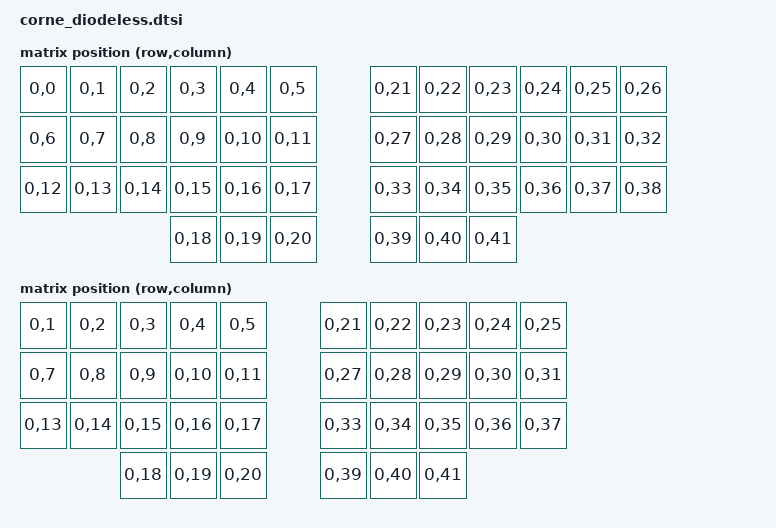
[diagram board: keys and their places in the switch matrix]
/*
 * Copyright (c) 2026 The Diodeless Corne contributors
 *
 * SPDX-License-Identifier: MIT
 */

#include <dt-bindings/zmk/matrix_transform.h>

#include <layouts/foostan/corne/5column.dtsi>
#include <layouts/foostan/corne/6column.dtsi>

&foostan_corne_6col_layout {
    transform = <&default_transform>;
};

&foostan_corne_5col_layout {
    transform = <&five_column_transform>;
};

/ {
    chosen {
        zmk,kscan = &kscan0;
        zmk,physical-layout = &foostan_corne_6col_layout;
    };

    /*
     * Direct wiring has no rows: each half is one row of 21 inputs.
     * The left half is inputs 0-20 and the right half is inputs 21-41.
     * Within a half the inputs run row by row, left to right, then the three thumb keys.
     */
    default_transform: keymap_transform_0 {
        compatible = "zmk,matrix-transform";
        columns = <42>;
        rows = <1>;
        map = <
RC(0,0)  RC(0,1)  RC(0,2)  RC(0,3)  RC(0,4)  RC(0,5)    RC(0,21) RC(0,22) RC(0,23) RC(0,24) RC(0,25) RC(0,26)
RC(0,6)  RC(0,7)  RC(0,8)  RC(0,9)  RC(0,10) RC(0,11)   RC(0,27) RC(0,28) RC(0,29) RC(0,30) RC(0,31) RC(0,32)
RC(0,12) RC(0,13) RC(0,14) RC(0,15) RC(0,16) RC(0,17)   RC(0,33) RC(0,34) RC(0,35) RC(0,36) RC(0,37) RC(0,38)
                           RC(0,18) RC(0,19) RC(0,20)   RC(0,39) RC(0,40) RC(0,41)
        >;
    };

    /* The same board with the two outer columns left empty. */
    five_column_transform: keymap_transform_1 {
        compatible = "zmk,matrix-transform";
        columns = <42>;
        rows = <1>;
        map = <
RC(0,1)  RC(0,2)  RC(0,3)  RC(0,4)  RC(0,5)    RC(0,21) RC(0,22) RC(0,23) RC(0,24) RC(0,25)
RC(0,7)  RC(0,8)  RC(0,9)  RC(0,10) RC(0,11)   RC(0,27) RC(0,28) RC(0,29) RC(0,30) RC(0,31)
RC(0,13) RC(0,14) RC(0,15) RC(0,16) RC(0,17)   RC(0,33) RC(0,34) RC(0,35) RC(0,36) RC(0,37)
                  RC(0,18) RC(0,19) RC(0,20)   RC(0,39) RC(0,40) RC(0,41)
        >;
    };

    kscan0: kscan {
        compatible = "zmk,kscan-gpio-direct";
        wakeup-source;
        /* input-gpios are set per half in the left and right overlays. */
    };
};
